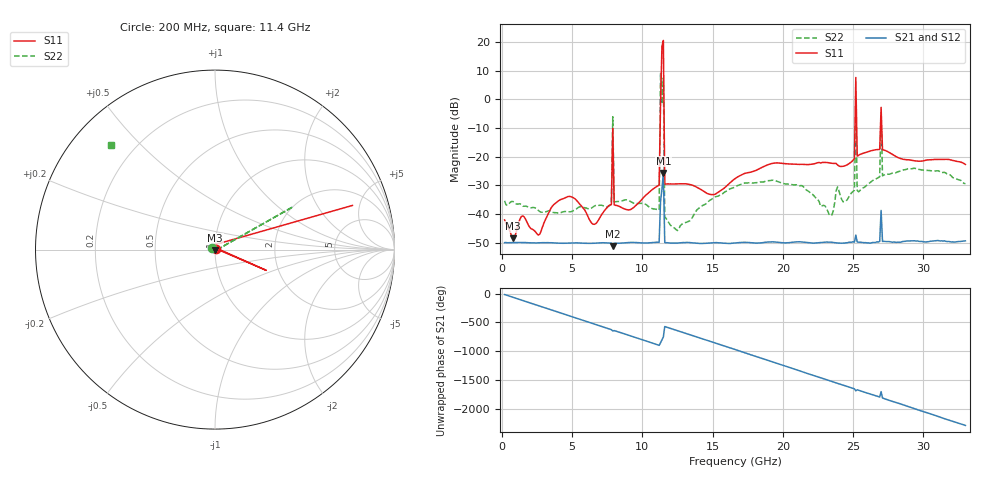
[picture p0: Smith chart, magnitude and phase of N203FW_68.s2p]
# GHZ S RI R 50
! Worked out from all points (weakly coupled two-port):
!   329 points, 200 MHz to 33 GHz, reference 50 ohm
!   highest |S21| = -25.70 dB at 11.5 GHz (marker M1); lowest = -51.2 dB at 7.9 GHz (marker M2)
!   lowest |S11| = -48.5 dB at 800 MHz (marker M3), VSWR 1.01, Z = 50 - j0.376 ohm
!   |S11| at or under -10 dB: start of sweep to 11.27 GHz; 11.56 GHz to 25.14 GHz (13.58 GHz wide, 74 % of centre); 27.05 GHz to end of sweep (the widest 3 of 4)
!   |S22| runs from -45.7 to 9.3 dB; largest |S21 - S12| = 0.012
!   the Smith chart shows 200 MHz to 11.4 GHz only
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0.2  0.00565 0.00554  0.00305 -0.000895  0.00306 -0.000888  -0.0143 0.00916
0.8  -0.000216 -0.00376  0.00139 -0.00287  0.00138 -0.00287  -0.013 0.0101
5.7  0.00611 0.0121  -0.000438 -0.00309  -0.000454 -0.00309  0.0064 -0.0116
7.8  -0.00903 0.0115  -0.000206 0.00311  -0.000214 0.00312  -0.00825 -0.0124
7.9  0.2859 -0.1158  0.00087 0.00262  0.000862 0.00252  0.4349 0.239
8  -0.00509 0.0135  0.000655 0.00303  0.000655 0.00304  -0.0103 -0.0127
11.2  0.00958 0.0304  -0.00322 -5.49e-05  -0.00323 -5.99e-05  -0.0106 0.00506
11.3  0.7659 0.2461  -0.0117 -0.0119  -0.0122 -0.00897  0.5364 2.861
11.4  4.122 7.261  0.00419 -0.0266  0.00309 -0.0258  -0.58 0.5811
11.5  10.09 -3.13  0.044 -0.0276  0.0433 -0.0283  -0.2282 -2.34
11.6  0.029 0.0161  -0.00271 0.0017  -0.00271 0.0017  -0.00772 0.00459
16.6  -0.0338 0.0238  -0.00105 0.00295  -0.00104 0.00295  -0.0292 0.00424
22.1  -0.0306 -0.0674  0.00282 0.00135  0.00283 0.00135  0.0203 0.00902
23.4  -0.00931 0.0768  0.000626 -0.00318  0.000611 -0.00318  0.0087 -0.00339
25.1  -0.0401 -0.0827  -0.00269 0.00182  -0.00272 0.00183  -0.0243 -0.00919
25.2  2.295 0.6591  -0.00159 0.004  -0.0014 0.00403  0.2745 0.5404
25.3  -0.0771 -0.0665  -0.00209 0.00251  -0.00207 0.0025  -0.0255 -0.00462
26.9  0.0623 0.1176  0.00332 0.000192  0.00328 0.00016  -0.04 0.0198
27  -0.5787 0.4322  -0.0015 0.0115  -0.00113 -0.000199  0.3769 -0.3327
27.1  0.0987 0.0872  0.00324 -0.00078  0.00323 -0.000801  -0.0393 0.0247
27.6  0.1148 -0.0245  0.00184 -0.00275  0.00189 -0.00271  -0.0357 0.0342
33  0.0181 0.0709  -0.0022 -0.00261  -0.0022 -0.00259  0.0325 0.00917
